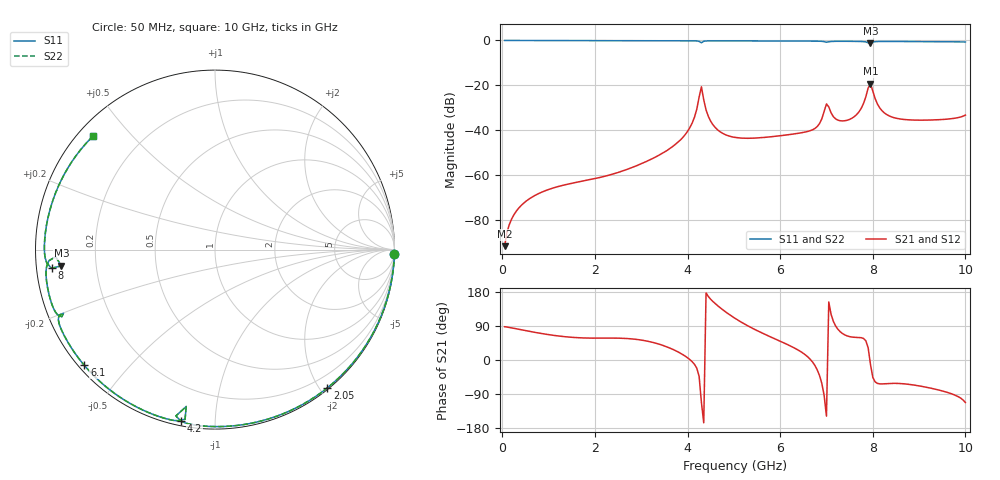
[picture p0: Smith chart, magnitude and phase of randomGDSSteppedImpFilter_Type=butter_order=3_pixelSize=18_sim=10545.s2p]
! freq	dB(S11)	phase(S11)	dB(S12)	phase(S12)
!  dB(S21)	phase(S21)	dB(S22)	phase(S22)
!S-par simulation data
#  GHz  S  DB  R 50
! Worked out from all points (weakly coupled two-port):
!   200 points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, 50 MHz to 10 GHz, reference 50 ohm
!   highest |S21| = -19.21 dB at 7.95 GHz (marker M1); lowest = -91.4 dB at 50 MHz (marker M2)
!   lowest |S11| = -1.3 dB at 7.95 GHz (marker M3), VSWR 13.34, Z = 3.76 - j2.61 ohm
!   |S11| at or under -10 dB: nowhere
!   |S22| runs from -1.3 to 0.0 dB; largest |S21 - S12| = 0
!   S11 on the Smith chart (normalised r, x): 50 MHz: 0, -89; 2.05 GHz: 0.02, -2.10; 4.2 GHz: 0.02, -0.82; 6.1 GHz: 0.02, -0.38; 8 GHz: 0.04, -0.06; 10 GHz: 0.04, +0.39
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0.05  -0.00 -1.3  -91.41 87.8  -91.41 87.8  -0.00 -1.3
0.75  -0.02 -19.0  -68.38 71.9  -68.38 71.9  -0.02 -19.0
1.75  -0.06 -43.7  -62.43 58.2  -62.43 58.2  -0.06 -43.7
2.05  -0.06 -50.9  -61.15 57.7  -61.15 57.7  -0.06 -50.9
3.4  -0.11 -82.1  -50.79 41.2  -50.79 41.2  -0.11 -82.1
3.95  -0.13 -94.5  -41.83 10.2  -41.83 10.2  -0.13 -94.5
4.2  -0.22 -101.1  -30.54 -21.7  -30.54 -21.7  -0.22 -101.1
4.3  -1.02 -100.4  -20.58 -112.1  -20.58 -112.1  -1.02 -100.4
4.4  -0.22 -102.0  -30.87 177.0  -30.87 177.0  -0.22 -102.0
4.55  -0.17 -106.0  -37.50 154.1  -37.50 154.1  -0.17 -106.0
5.05  -0.18 -116.9  -43.14 108.1  -43.14 108.1  -0.18 -116.9
6.1  -0.24 -138.5  -42.09 44.1  -42.09 44.1  -0.24 -138.5
6.7  -0.30 -151.0  -39.68 -5.4  -39.68 -5.4  -0.30 -151.0
6.85  -0.34 -154.5  -36.95 -40.9  -36.95 -40.9  -0.34 -154.5
7  -0.77 -157.2  -28.20 -148.2  -28.20 -148.2  -0.76 -157.2
7.25  -0.37 -161.2  -35.43 80.6  -35.43 80.6  -0.37 -161.2
7.6  -0.40 -169.2  -33.87 59.9  -33.87 59.9  -0.40 -169.2
7.95  -1.30 -174.0  -19.21 -11.3  -19.21 -11.3  -1.31 -174.0
8  -0.75 -173.5  -22.41 -45.5  -22.41 -45.5  -0.76 -173.5
8.15  -0.45 -178.6  -29.96 -63.0  -29.96 -63.0  -0.45 -178.6
8.35  -0.44 176.4  -33.48 -62.0  -33.48 -62.0  -0.44 176.4
10  -0.66 137.0  -33.16 -112.1  -33.16 -112.1  -0.66 137.0
